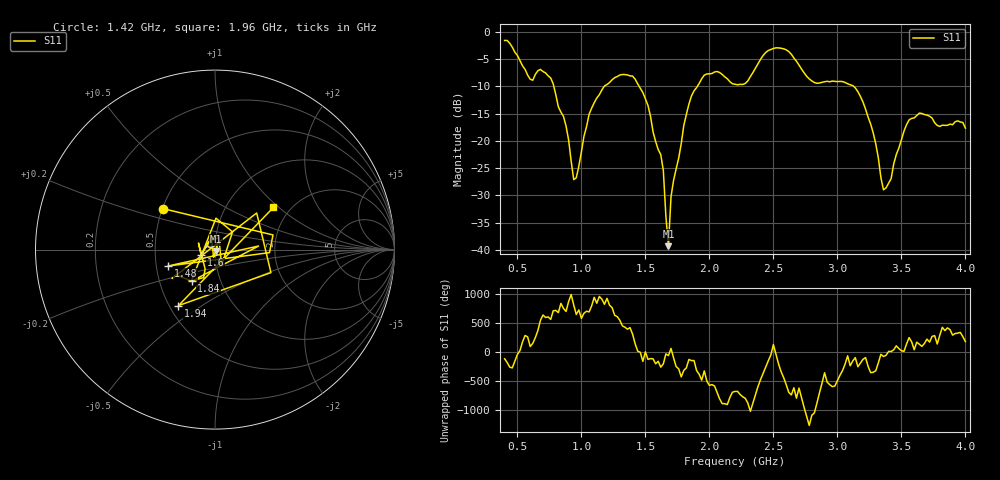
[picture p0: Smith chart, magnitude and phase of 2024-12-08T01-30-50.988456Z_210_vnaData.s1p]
!Created with skrf (http://scikit-rf.org).
# Hz S RI R 50.0
!freq ReS11 ImS11
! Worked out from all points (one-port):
!   181 points, 400 MHz to 4 GHz, reference 50 ohm
!   lowest |S11| = -39.3 dB at 1.68 GHz (marker M1), VSWR 1.02, Z = 50.5 - j0.958 ohm
!   |S11| at or under -10 dB: 784.7 MHz to 1.178 GHz (392.9 MHz wide, 40 % of centre); 1.451 GHz to 1.905 GHz (453.8 MHz wide, 27 % of centre); 3.128 GHz to end of sweep
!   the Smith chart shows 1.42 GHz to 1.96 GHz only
!   S11 on the Smith chart (normalised r, x): 1.42 GHz: 0.50, +0.27; 1.48 GHz: 0.58, -0.11; 1.6 GHz: 0.85, -0.05; 1.84 GHz: 0.73, -0.27; 1.94 GHz: 0.56, -0.40; 1.96 GHz: 1.64, +0.92
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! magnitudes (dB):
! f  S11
! 400 MHz  -1.6
! 600 MHz  -8.7
! 760 MHz  -8.4
! 860 MHz  -15.5
! 940 MHz  -27.1
! 1.08 GHz  -14.0
! 1.3 GHz  -7.9
! 1.42 GHz  -8.7
! 1.48 GHz  -11.1
! 1.6 GHz  -21.6
! 1.64 GHz  -25.4
! 1.68 GHz  -39.3
! 1.7 GHz  -30.2
! 1.76 GHz  -23.2
! 1.84 GHz  -13.2
! 1.94 GHz  -8.6
! 1.96 GHz  -7.9
! 2.2 GHz  -9.6
! 2.3 GHz  -9.0
! 2.46 GHz  -3.4
! 2.66 GHz  -4.8
! 2.82 GHz  -9.3
! 3.1 GHz  -9.7
! 3.26 GHz  -16.9
! 3.36 GHz  -29.0
! 3.42 GHz  -26.9
! 3.56 GHz  -16.2
! 4 GHz  -17.6
